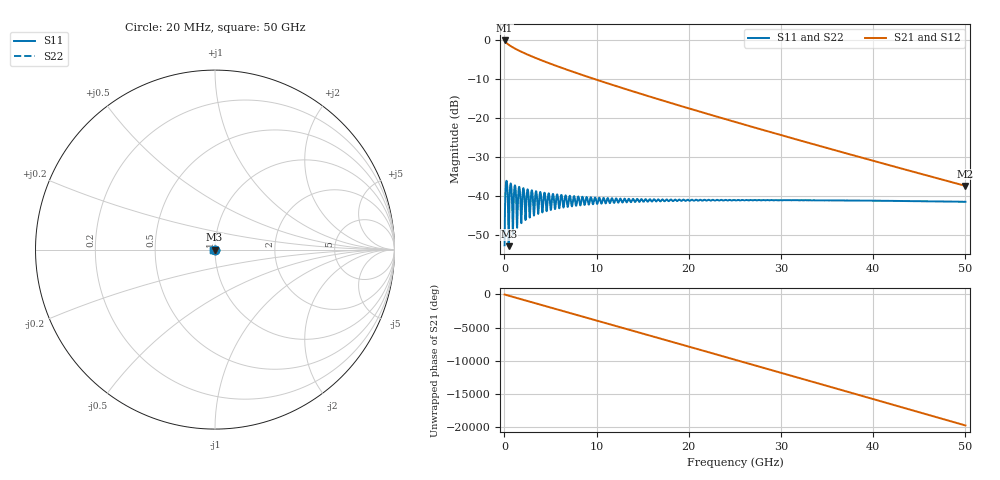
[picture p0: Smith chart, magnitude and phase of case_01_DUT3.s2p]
# HZ S RI R 50
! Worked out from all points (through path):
!   2500 points, 20 MHz to 50 GHz, reference 50 ohm
!   highest |S21| = -0.24 dB at 20 MHz (marker M1); lowest = -37.4 dB at 50 GHz (marker M2)
!   group delay of S21, straight-line fit = 1.1 ns
!   lowest |S11| = -52.9 dB at 460 MHz (marker M3), VSWR 1.00, Z = 49.8 - j0.0182 ohm
!   |S11| at or under -10 dB: start of sweep to end of sweep
!   |S22| runs from -52.9 to -36.1 dB; largest |S21 - S12| = 0
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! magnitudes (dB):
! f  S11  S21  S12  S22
! 20 MHz  -52.6  -0.2  -0.2  -52.6
! 160 MHz  -37.0  -0.7  -0.7  -37.0
! 320 MHz  -38.1  -1.1  -1.1  -38.1
! 460 MHz  -52.9  -1.3  -1.3  -52.9
! 680 MHz  -36.8  -1.7  -1.7  -36.8
! 880 MHz  -46.8  -2.0  -2.0  -46.8
! 1.14 GHz  -37.3  -2.3  -2.3  -37.3
! 1.34 GHz  -46.3  -2.6  -2.6  -46.3
! 1.6 GHz  -37.7  -2.9  -2.9  -37.7
! 1.8 GHz  -45.9  -3.1  -3.1  -45.9
! 2.06 GHz  -38.0  -3.4  -3.4  -38.0
! 2.26 GHz  -45.4  -3.6  -3.6  -45.4
! 2.5 GHz  -38.4  -3.8  -3.8  -38.4
! 2.72 GHz  -45.0  -4.1  -4.1  -45.0
! 2.96 GHz  -38.6  -4.3  -4.3  -38.6
! 3.18 GHz  -44.7  -4.5  -4.5  -44.7
! 8.36 GHz  -41.1  -9.0  -9.0  -41.1
! 16.68 GHz  -40.9  -15.3  -15.3  -40.9
! 25.02 GHz  -41.1  -21.1  -21.1  -41.1
! 33.34 GHz  -41.2  -26.7  -26.7  -41.2
! 41.68 GHz  -41.3  -32.1  -32.1  -41.3
! 50 GHz  -41.5  -37.4  -37.4  -41.5
